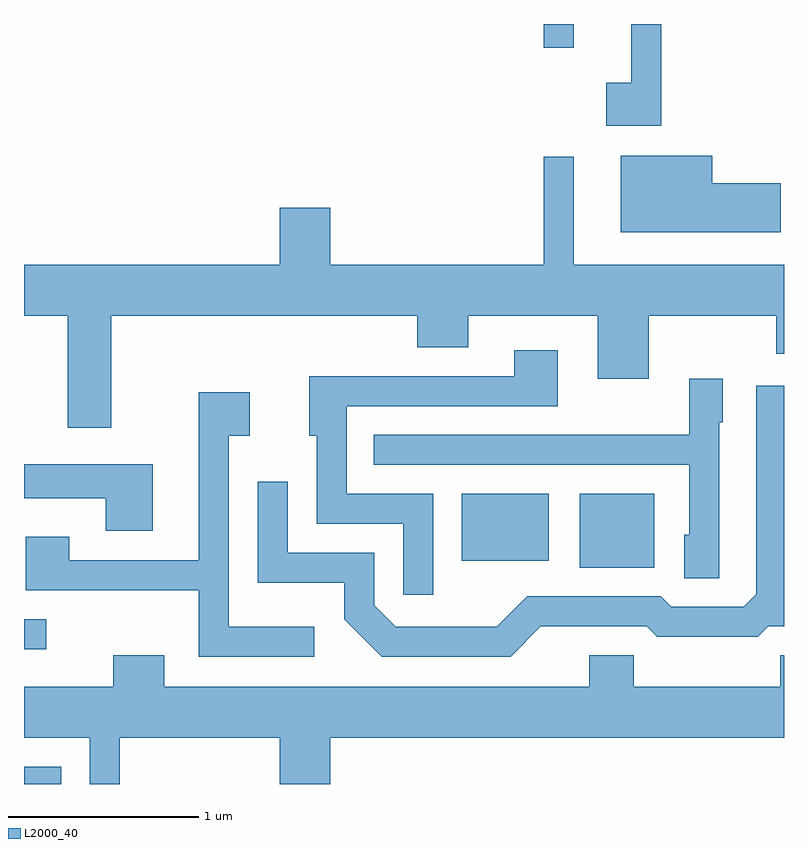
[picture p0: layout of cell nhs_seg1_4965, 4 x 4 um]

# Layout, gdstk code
import gdstk
lib = gdstk.Library(unit=1e-6, precision=1e-09)
def R(c, l, rs):  # rectangles x0, y0, x1, y1
    for r in rs: c.add(gdstk.rectangle(r[:2], r[2:], *l))
def P(c, l, *ps):  # polygons
    for p in ps: c.add(gdstk.Polygon(p, *l))
L2000_40 = (2000, 40)

nhs_seg1_4965 = lib.new_cell('nhs_seg1_4965')
R(nhs_seg1_4965, L2000_40, [(333.611,963.712,333.808,963.804), (333.611,964.421,333.728,964.579), (336.536,964.851,336.929,965.239), (335.916,964.886,336.374,965.239), (336.346,967.588,336.504,967.712)])
P(nhs_seg1_4965, L2000_40, [(336.964,967.712),(336.806,967.712),(336.806,967.404),(336.676,967.404),(336.676,967.176),(336.964,967.176)],
  [(337.594,966.874),(337.234,966.874),(337.234,967.019),(336.751,967.019),(336.751,966.616),(337.594,966.616)],
  [(334.069,966.176),(335.681,966.176),(335.681,966.011),(335.949,966.011),(335.949,966.176),(336.631,966.176),(336.631,965.846),(336.899,965.846),(336.899,966.176),(337.571,966.176),(337.571,965.976),(337.611,965.976),(337.611,966.444),(336.504,966.444),(336.504,967.013),(336.346,967.013),(336.346,966.444),(335.224,966.444),(335.224,966.744),(334.956,966.744),(334.956,966.444),(333.611,966.444),(333.611,966.176),(333.841,966.176),(333.841,965.586),(334.069,965.586)],
  [(335.764,965.239),(335.309,965.239),(335.309,965.701),(336.419,965.701),(336.419,965.994),(336.191,965.994),(336.191,965.859),(335.111,965.859),(335.111,965.546),(335.151,965.546),(335.151,965.081),(335.606,965.081),(335.606,964.708),(335.764,964.708)],
  [(337.269,965.616),(337.289,965.616),(337.289,965.844),(337.111,965.844),(337.111,965.549),(335.453,965.549),(335.453,965.391),(337.111,965.391),(337.111,965.024),(337.086,965.024),(337.086,964.796),(337.269,964.796)],
  [(336.332,964.541),(336.889,964.541),(336.944,964.486),(337.472,964.486),(337.527,964.541),(337.611,964.541),(337.611,965.809),(337.466,965.809),(337.466,964.712),(337.399,964.644),(337.017,964.644),(336.962,964.699),(336.259,964.699),(336.099,964.539),(335.567,964.539),(335.454,964.652),(335.454,964.929),(334.999,964.929),(334.999,965.303),(334.841,965.303),(334.841,964.771),(335.296,964.771),(335.296,964.579),(335.494,964.381),(336.172,964.381)],
  [(335.138,964.539),(334.689,964.539),(334.689,965.546),(334.799,965.546),(334.799,965.774),(334.531,965.774),(334.531,964.889),(333.849,964.889),(333.849,965.014),(333.621,965.014),(333.621,964.731),(334.531,964.731),(334.531,964.381),(335.138,964.381)],
  [(334.289,965.394),(333.611,965.394),(333.611,965.216),(334.041,965.216),(334.041,965.046),(334.289,965.046)],
  [(334.114,963.956),(334.956,963.956),(334.956,963.712),(335.224,963.712),(335.224,963.956),(337.611,963.956),(337.611,964.389),(337.591,964.389),(337.591,964.224),(336.819,964.224),(336.819,964.389),(336.586,964.389),(336.586,964.224),(334.349,964.224),(334.349,964.389),(334.081,964.389),(334.081,964.224),(333.611,964.224),(333.611,963.956),(333.956,963.956),(333.956,963.712),(334.114,963.712)])

lib.write_gds('nhs_seg1_4965.gds')
